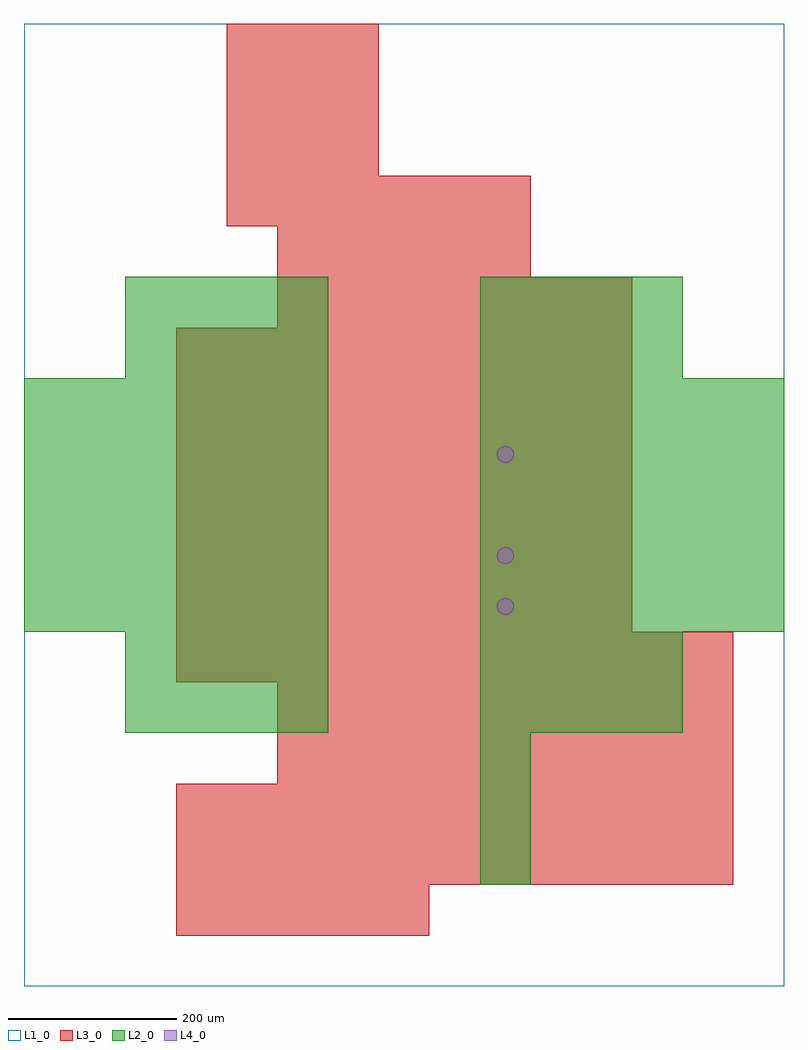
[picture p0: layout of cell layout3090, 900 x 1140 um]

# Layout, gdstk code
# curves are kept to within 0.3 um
import gdstk
lib = gdstk.Library(unit=1e-6, precision=1e-09)
def R(c, l, rs):  # rectangles x0, y0, x1, y1
    for r in rs: c.add(gdstk.rectangle(r[:2], r[2:], *l))
def A(c, l, x, y, w, h, nx, ny, dx, dy):  # array of equal rectangles
    R(c, l, [(x+i*dx, y+j*dy, x+i*dx+w, y+j*dy+h) for i in range(nx) for j in range(ny)])
def P(c, l, *ps):  # polygons
    for p in ps: c.add(gdstk.Polygon(p, *l))
L1_0 = (1, 0)
L2_0 = (2, 0)
L3_0 = (3, 0)
L4_0 = (4, 0)

layout3090 = lib.new_cell('layout3090')
R(layout3090, L1_0, [(0,0,900,1140)])
A(layout3090, L2_0, 540, 120, 60, 60, 1, 3, 0, 60)
A(layout3090, L2_0, 120, 300, 60, 60, 4, 2, 60, 60)
A(layout3090, L2_0, 540, 300, 60, 60, 4, 2, 60, 60)
A(layout3090, L2_0, 0, 420, 60, 60, 6, 5, 60, 60)
A(layout3090, L2_0, 540, 420, 60, 60, 6, 5, 60, 60)
A(layout3090, L2_0, 120, 720, 60, 60, 4, 2, 60, 60)
A(layout3090, L2_0, 540, 720, 60, 60, 4, 2, 60, 60)
A(layout3090, L3_0, 180, 60, 60, 60, 5, 1, 60, 0)
A(layout3090, L3_0, 180, 120, 60, 60, 11, 2, 60, 60)
A(layout3090, L3_0, 300, 240, 60, 60, 9, 2, 60, 60)
A(layout3090, L3_0, 180, 360, 60, 60, 11, 1, 60, 0)
A(layout3090, L3_0, 180, 420, 60, 60, 9, 6, 60, 60)
A(layout3090, L3_0, 300, 780, 60, 60, 7, 1, 60, 0)
A(layout3090, L3_0, 300, 840, 60, 60, 5, 1, 60, 0)
A(layout3090, L3_0, 240, 900, 60, 60, 6, 1, 60, 0)
A(layout3090, L3_0, 240, 960, 60, 60, 3, 3, 60, 60)
P(layout3090, L4_0, [(580,450),(579.239,453.827),(577.071,457.071),(573.827,459.239),(570,460),(566.173,459.239),(562.929,457.071),(560.761,453.827),(560,450),(560.761,446.173),(562.929,442.929),(566.173,440.761),(570,440),(573.827,440.761),(577.071,442.929),(579.239,446.173)],
  [(580,510),(579.239,513.827),(577.071,517.071),(573.827,519.239),(570,520),(566.173,519.239),(562.929,517.071),(560.761,513.827),(560,510),(560.761,506.173),(562.929,502.929),(566.173,500.761),(570,500),(573.827,500.761),(577.071,502.929),(579.239,506.173)],
  [(580,630),(579.239,633.827),(577.071,637.071),(573.827,639.239),(570,640),(566.173,639.239),(562.929,637.071),(560.761,633.827),(560,630),(560.761,626.173),(562.929,622.929),(566.173,620.761),(570,620),(573.827,620.761),(577.071,622.929),(579.239,626.173)])

lib.write_gds('layout3090.gds')
